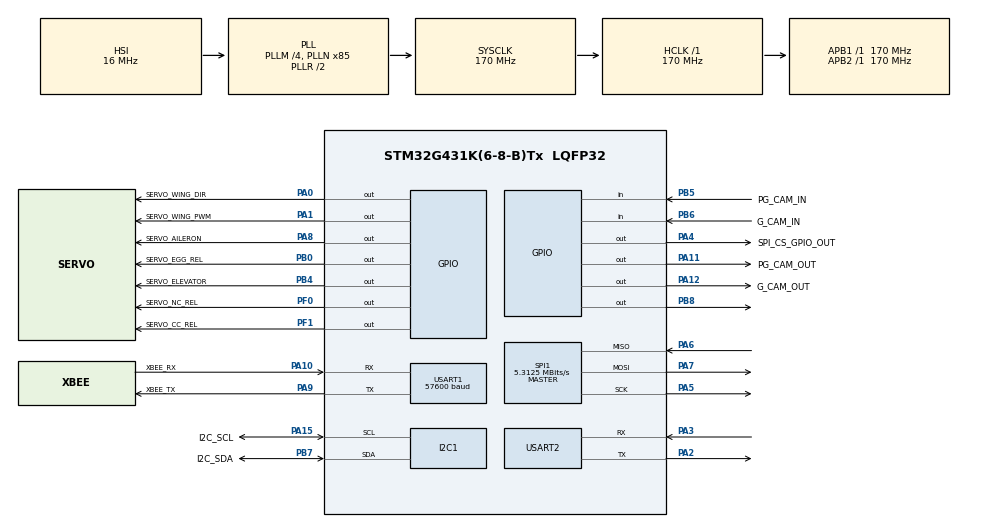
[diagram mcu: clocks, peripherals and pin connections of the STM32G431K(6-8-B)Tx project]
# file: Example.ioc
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I2C1.Timing=0x40B285C2
Mcu.Family=STM32G4
Mcu.Name=STM32G431K(6-8-B)Tx
Mcu.Package=LQFP32
NUCLEO-G431KB.LD2=true
NUCLEO-G431KB.VCP=true
NVIC.I2C1_ER_IRQn=true\:0\:0\:false\:false\:true\:true\:true\:true
NVIC.PriorityGroup=NVIC_PRIORITYGROUP_4
NVIC.TIM1_UP_TIM16_IRQn=true\:0\:0\:false\:false\:true\:true\:true\:true
PA0.GPIO_Label=SERVO_WING_DIR
PA0.Signal=GPIO_Output
PA1.GPIO_Label=SERVO_WING_PWM
PA1.Signal=GPIO_Output
PA10.GPIO_Label=XBEE_RX
PA10.Mode=Asynchronous
PA10.Signal=USART1_RX
PA11.GPIO_Label=PG_CAM_OUT
PA11.Signal=GPIO_Output
PA12.GPIO_Label=G_CAM_OUT
PA12.Signal=GPIO_Output
PA13.GPIO_Label=T_SWDIO
PA13.Mode=Trace_Asynchronous_SW
PA13.Signal=SYS_JTMS-SWDIO
PA14.GPIO_Label=T_SWCLK
PA14.Mode=Trace_Asynchronous_SW
PA14.Signal=SYS_JTCK-SWCLK
PA15.GPIO_Label=I2C_SCL
PA15.GPIO_Pu=GPIO_PULLUP
PA15.GPIO_Speed=GPIO_SPEED_FREQ_LOW
PA15.Mode=I2C
PA15.Signal=I2C1_SCL
PA2.Mode=Asynchronous
PA2.Signal=USART2_TX
PA3.Mode=Asynchronous
PA3.Signal=USART2_RX
PA4.GPIO_Label=SPI_CS_GPIO_OUT
PA4.Signal=GPIO_Output
PA5.Mode=Full_Duplex_Master
PA5.Signal=SPI1_SCK
PA6.Mode=Full_Duplex_Master
PA6.Signal=SPI1_MISO
PA7.Mode=Full_Duplex_Master
PA7.Signal=SPI1_MOSI
PA8.GPIO_Label=SERVO_AILERON
PA8.Signal=GPIO_Output
PA9.GPIO_Label=XBEE_TX
PA9.Mode=Asynchronous
PA9.Signal=USART1_TX
PB0.GPIO_Label=SERVO_EGG_REL
PB0.Signal=GPIO_Output
PB3.GPIO_Label=T_SWO
PB3.Mode=Trace_Asynchronous_SW
PB3.Signal=SYS_JTDO-SWO
PB4.GPIO_Label=SERVO_ELEVATOR
PB4.Signal=GPIO_Output
PB5.GPIO_Label=PG_CAM_IN
PB5.Signal=GPIO_Input
PB6.GPIO_Label=G_CAM_IN
PB6.Signal=GPIO_Input
PB7.GPIO_Label=I2C_SDA
PB7.GPIO_Pu=GPIO_PULLUP
PB7.GPIO_Speed=GPIO_SPEED_FREQ_LOW
PB7.Mode=I2C
PB7.Signal=I2C1_SDA
PB8-BOOT0.Signal=GPIO_Output
PF0-OSC_IN.GPIO_Label=SERVO_NC_REL
PF0-OSC_IN.Signal=GPIO_Output
PF1-OSC_OUT.GPIO_Label=SERVO_CC_REL
PF1-OSC_OUT.Signal=GPIO_Output
ProjectManager.HeapSize=0x200
ProjectManager.StackSize=0x400
ProjectManager.TargetToolchain=STM32CubeIDE
RCC.ADC12Freq_Value=170000000
RCC.AHBFreq_Value=170000000
RCC.APB1Freq_Value=170000000
RCC.APB1TimFreq_Value=170000000
RCC.APB2Freq_Value=170000000
RCC.APB2TimFreq_Value=170000000
RCC.CortexFreq_Value=170000000
RCC.EXTERNAL_CLOCK_VALUE=12288000
RCC.HCLKFreq_Value=170000000
RCC.HSE_VALUE=8000000
RCC.HSI48_VALUE=48000000
RCC.HSI_VALUE=16000000
RCC.LSE_VALUE=32768
RCC.PLLM=RCC_PLLM_DIV4
RCC.PLLN=85
RCC.SYSCLKFreq_VALUE=170000000
RCC.SYSCLKSource=RCC_SYSCLKSOURCE_PLLCLK
RCC.USBFreq_Value=170000000
RCC.VCOOutputFreq_Value=340000000
SPI1.BaudRatePrescaler=SPI_BAUDRATEPRESCALER_32
SPI1.CalculateBaudRate=5.3125 MBits/s
SPI1.Direction=SPI_DIRECTION_2LINES
SPI1.Mode=SPI_MODE_MASTER
SPI1.VirtualType=VM_MASTER
SPI1.ReceptionThreshold=SPI_RXFIFO_THRESHOLD_QF
SYS.PVDLevel=PWR_PVDLEVEL_6
TIM1.PeriodNoDither=9999
TIM1.Prescaler=16999
USART1.BaudRate=57600
USART1.VirtualMode-Asynchronous=VM_ASYNC
VP_NUCLEO-G431KB_VS_BSP_COMMON.Mode=COMMON
VP_SYS_VS_DBSignals.Mode=DisableDeadBatterySignals
VP_SYS_V_PVD_IN.Mode=Mode_PVD_Int
VP_TIM1_VS_ClockSourceINT.Mode=Internal
board=NUCLEO-G431KB

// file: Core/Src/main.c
/* USER CODE BEGIN Header */
/**
  ******************************************************************************
  * @file           : main.c
  * @brief          : Main program body
  ******************************************************************************
  * @attention
  *
  * Copyright (c) 2025 STMicroelectronics.
  * All rights reserved.
  *
  * This software is licensed under terms that can be found in the LICENSE file
  * in the root directory of this software component.
  * If no LICENSE file comes with this software, it is provided AS-IS.
  *
  ******************************************************************************
  */
/* USER CODE END Header */
#include "main.h"

/* USER CODE BEGIN Includes */
#ifdef __cplusplus
 extern "C" {
#endif
void main_cpp();
#ifdef __cplusplus
}
#endif
/* USER CODE END Includes */

COM_InitTypeDef BspCOMInit;

I2C_HandleTypeDef hi2c1;

SPI_HandleTypeDef hspi1;

TIM_HandleTypeDef htim1;

UART_HandleTypeDef huart1;

void SystemClock_Config(void);
static void MX_GPIO_Init(void);
static void MX_I2C1_Init(void);
static void MX_SPI1_Init(void);
static void MX_TIM1_Init(void);
static void MX_USART1_UART_Init(void);

int main(void)
{

  /* MCU Configuration--------------------------------------------------------*/

  /* Reset of all peripherals, Initializes the Flash interface and the Systick. */
  HAL_Init();

  /* Configure the system clock */
  SystemClock_Config();

  /* Initialize all configured peripherals */
  MX_GPIO_Init();
  MX_I2C1_Init();
  MX_SPI1_Init();
  MX_TIM1_Init();
  MX_USART1_UART_Init();

  /* Initialize leds */
  BSP_LED_Init(LED_GREEN);

  /* Initialize COM1 port (115200, 8 bits (7-bit data + 1 stop bit), no parity */
  BspCOMInit.BaudRate   = 115200;
  BspCOMInit.WordLength = COM_WORDLENGTH_8B;
  BspCOMInit.StopBits   = COM_STOPBITS_1;
  BspCOMInit.Parity     = COM_PARITY_NONE;
  BspCOMInit.HwFlowCtl  = COM_HWCONTROL_NONE;
  if (BSP_COM_Init(COM1, &BspCOMInit) != BSP_ERROR_NONE)
  {
    Error_Handler();
  }

  /* Infinite loop */
  /* USER CODE BEGIN WHILE */
  uint8_t tx = 0xA5;
  uint8_t rx = 0x00;
  HAL_StatusTypeDef ret;

  HAL_GPIO_WritePin(SPI_CS_GPIO_OUT_GPIO_Port, SPI_CS_GPIO_OUT_Pin, GPIO_PIN_RESET);
  ret = HAL_SPI_TransmitReceive(&hspi1, &tx, &rx, 1, 100);
  HAL_GPIO_WritePin(SPI_CS_GPIO_OUT_GPIO_Port, SPI_CS_GPIO_OUT_Pin, GPIO_PIN_SET);

  printf("Loopback: ret=%d sent=0x%02X got=0x%02X\r\n", ret, tx, rx);

  printf("GPIOA MODER: 0x%08lX\r\n", GPIOA->MODER);
  printf("GPIOA AFRL:  0x%08lX\r\n", GPIOA->AFR[0]);
  printf("SPI1 CR1:    0x%08lX\r\n", SPI1->CR1);
  printf("SPI1 CR2:    0x%08lX\r\n", SPI1->CR2);
  main_cpp();
  while (1)
  {

    /* USER CODE END WHILE */

  }
}

void SystemClock_Config(void)
{
  RCC_OscInitTypeDef RCC_OscInitStruct = {0};
  RCC_ClkInitTypeDef RCC_ClkInitStruct = {0};

  /** Configure the main internal regulator output voltage
  */
  HAL_PWREx_ControlVoltageScaling(PWR_REGULATOR_VOLTAGE_SCALE1_BOOST);

  /** Initializes the RCC Oscillators according to the specified parameters
  * in the RCC_OscInitTypeDef structure.
  */
  RCC_OscInitStruct.OscillatorType = RCC_OSCILLATORTYPE_HSI;
  RCC_OscInitStruct.HSIState = RCC_HSI_ON;
  RCC_OscInitStruct.HSICalibrationValue = RCC_HSICALIBRATION_DEFAULT;
  RCC_OscInitStruct.PLL.PLLState = RCC_PLL_ON;
  RCC_OscInitStruct.PLL.PLLSource = RCC_PLLSOURCE_HSI;
  RCC_OscInitStruct.PLL.PLLM = RCC_PLLM_DIV4;
  RCC_OscInitStruct.PLL.PLLN = 85;
  RCC_OscInitStruct.PLL.PLLP = RCC_PLLP_DIV2;
  RCC_OscInitStruct.PLL.PLLQ = RCC_PLLQ_DIV2;
  RCC_OscInitStruct.PLL.PLLR = RCC_PLLR_DIV2;
  if (HAL_RCC_OscConfig(&RCC_OscInitStruct) != HAL_OK)
  {
    Error_Handler();
  }

  /** Initializes the CPU, AHB and APB buses clocks
  */
  RCC_ClkInitStruct.ClockType = RCC_CLOCKTYPE_HCLK|RCC_CLOCKTYPE_SYSCLK
                              |RCC_CLOCKTYPE_PCLK1|RCC_CLOCKTYPE_PCLK2;
  RCC_ClkInitStruct.SYSCLKSource = RCC_SYSCLKSOURCE_PLLCLK;
  RCC_ClkInitStruct.AHBCLKDivider = RCC_SYSCLK_DIV1;
  RCC_ClkInitStruct.APB1CLKDivider = RCC_HCLK_DIV1;
  RCC_ClkInitStruct.APB2CLKDivider = RCC_HCLK_DIV1;

  if (HAL_RCC_ClockConfig(&RCC_ClkInitStruct, FLASH_LATENCY_4) != HAL_OK)
  {
    Error_Handler();
  }
}

static void MX_I2C1_Init(void)
{

  hi2c1.Instance = I2C1;
  hi2c1.Init.Timing = 0x40B285C2;
  hi2c1.Init.OwnAddress1 = 0;
  hi2c1.Init.AddressingMode = I2C_ADDRESSINGMODE_7BIT;
  hi2c1.Init.DualAddressMode = I2C_DUALADDRESS_DISABLE;
  hi2c1.Init.OwnAddress2 = 0;
  hi2c1.Init.OwnAddress2Masks = I2C_OA2_NOMASK;
  hi2c1.Init.GeneralCallMode = I2C_GENERALCALL_DISABLE;
  hi2c1.Init.NoStretchMode = I2C_NOSTRETCH_DISABLE;
  if (HAL_I2C_Init(&hi2c1) != HAL_OK)
  {
    Error_Handler();
  }

  /** Configure Analogue filter
  */
  if (HAL_I2CEx_ConfigAnalogFilter(&hi2c1, I2C_ANALOGFILTER_ENABLE) != HAL_OK)
  {
    Error_Handler();
  }

  /** Configure Digital filter
  */
  if (HAL_I2CEx_ConfigDigitalFilter(&hi2c1, 0) != HAL_OK)
  {
    Error_Handler();
  }

}

static void MX_SPI1_Init(void)
{

  /* SPI1 parameter configuration*/
  hspi1.Instance = SPI1;
  hspi1.Init.Mode = SPI_MODE_MASTER;
  hspi1.Init.Direction = SPI_DIRECTION_2LINES;
  hspi1.Init.CLKPolarity = SPI_POLARITY_LOW;
  hspi1.Init.CLKPhase = SPI_PHASE_1EDGE;
  hspi1.Init.NSS = SPI_NSS_SOFT;
  hspi1.Init.FirstBit = SPI_FIRSTBIT_MSB;
  hspi1.Init.TIMode = SPI_TIMODE_DISABLE;
  hspi1.Init.CRCCalculation = SPI_CRCCALCULATION_DISABLE;
  hspi1.Init.CRCPolynomial = 7;
  hspi1.Init.CRCLength = SPI_CRC_LENGTH_DATASIZE;

  hspi1.Init.BaudRatePrescaler = SPI_BAUDRATEPRESCALER_128;

  hspi1.Init.NSSPMode = SPI_NSS_PULSE_DISABLE;
  hspi1.Init.DataSize = SPI_DATASIZE_8BIT;

  if (HAL_SPI_Init(&hspi1) != HAL_OK)
  {
    Error_Handler();
  }
  /* USER CODE BEGIN SPI1_Init 2 */

  hspi1.Instance->CR2 |= SPI_CR2_FRXTH;
  /* USER CODE END SPI1_Init 2 */

}

static void MX_TIM1_Init(void)
{

  TIM_ClockConfigTypeDef sClockSourceConfig = {0};
  TIM_MasterConfigTypeDef sMasterConfig = {0};

  htim1.Instance = TIM1;
  htim1.Init.Prescaler = 16999;
  htim1.Init.CounterMode = TIM_COUNTERMODE_UP;
  htim1.Init.Period = 9999;
  htim1.Init.ClockDivision = TIM_CLOCKDIVISION_DIV1;
  htim1.Init.RepetitionCounter = 0;
  htim1.Init.AutoReloadPreload = TIM_AUTORELOAD_PRELOAD_DISABLE;
  if (HAL_TIM_Base_Init(&htim1) != HAL_OK)
  {
    Error_Handler();
  }
  sClockSourceConfig.ClockSource = TIM_CLOCKSOURCE_INTERNAL;
  if (HAL_TIM_ConfigClockSource(&htim1, &sClockSourceConfig) != HAL_OK)
  {
    Error_Handler();
  }
  sMasterConfig.MasterOutputTrigger = TIM_TRGO_RESET;
  sMasterConfig.MasterOutputTrigger2 = TIM_TRGO2_RESET;
  sMasterConfig.MasterSlaveMode = TIM_MASTERSLAVEMODE_DISABLE;
  if (HAL_TIMEx_MasterConfigSynchronization(&htim1, &sMasterConfig) != HAL_OK)
  {
    Error_Handler();
  }

}

static void MX_USART1_UART_Init(void)
{

  huart1.Instance = USART1;
  huart1.Init.BaudRate = 57600;
  huart1.Init.WordLength = UART_WORDLENGTH_8B;
  huart1.Init.StopBits = UART_STOPBITS_1;
  huart1.Init.Parity = UART_PARITY_NONE;
  huart1.Init.Mode = UART_MODE_TX_RX;
  huart1.Init.HwFlowCtl = UART_HWCONTROL_NONE;
  huart1.Init.OverSampling = UART_OVERSAMPLING_16;
  huart1.Init.OneBitSampling = UART_ONE_BIT_SAMPLE_DISABLE;
  huart1.Init.ClockPrescaler = UART_PRESCALER_DIV1;
  huart1.AdvancedInit.AdvFeatureInit = UART_ADVFEATURE_NO_INIT;
  if (HAL_UART_Init(&huart1) != HAL_OK)
  {
    Error_Handler();
  }
  if (HAL_UARTEx_SetTxFifoThreshold(&huart1, UART_TXFIFO_THRESHOLD_1_8) != HAL_OK)
  {
    Error_Handler();
  }
  if (HAL_UARTEx_SetRxFifoThreshold(&huart1, UART_RXFIFO_THRESHOLD_1_8) != HAL_OK)
  {
    Error_Handler();
  }
  if (HAL_UARTEx_DisableFifoMode(&huart1) != HAL_OK)
  {
    Error_Handler();
  }

}

static void MX_GPIO_Init(void)
{
  GPIO_InitTypeDef GPIO_InitStruct = {0};

  /* GPIO Ports Clock Enable */
  __HAL_RCC_GPIOF_CLK_ENABLE();
  __HAL_RCC_GPIOA_CLK_ENABLE();
  __HAL_RCC_GPIOB_CLK_ENABLE();

  /*Configure GPIO pin Output Level */
  HAL_GPIO_WritePin(GPIOF, SERVO_NC_REL_Pin|SERVO_CC_REL_Pin, GPIO_PIN_RESET);

  /*Configure GPIO pin Output Level */
  HAL_GPIO_WritePin(GPIOA, SERVO_WING_DIR_Pin|SERVO_WING_PWM_Pin|SPI_CS_GPIO_OUT_Pin|SERVO_AILERON_Pin
                          |PG_CAM_OUT_Pin|G_CAM_OUT_Pin, GPIO_PIN_RESET);

  /*Configure GPIO pin Output Level */
  HAL_GPIO_WritePin(GPIOB, SERVO_EGG_REL_Pin|SERVO_ELEVATOR_Pin, GPIO_PIN_RESET);

  /*Configure GPIO pins : SERVO_NC_REL_Pin SERVO_CC_REL_Pin */
  GPIO_InitStruct.Pin = SERVO_NC_REL_Pin|SERVO_CC_REL_Pin;
  GPIO_InitStruct.Mode = GPIO_MODE_OUTPUT_PP;
  GPIO_InitStruct.Pull = GPIO_NOPULL;
  GPIO_InitStruct.Speed = GPIO_SPEED_FREQ_LOW;
  HAL_GPIO_Init(GPIOF, &GPIO_InitStruct);

  /*Configure GPIO pins : SERVO_WING_DIR_Pin SERVO_WING_PWM_Pin SPI_CS_GPIO_OUT_Pin SERVO_AILERON_Pin
                             PG_CAM_OUT_Pin G_CAM_OUT_Pin */
  GPIO_InitStruct.Pin = SERVO_WING_DIR_Pin|SERVO_WING_PWM_Pin|SPI_CS_GPIO_OUT_Pin|SERVO_AILERON_Pin
                          |PG_CAM_OUT_Pin|G_CAM_OUT_Pin;
  GPIO_InitStruct.Mode = GPIO_MODE_OUTPUT_PP;
  GPIO_InitStruct.Pull = GPIO_NOPULL;
  GPIO_InitStruct.Speed = GPIO_SPEED_FREQ_LOW;
  HAL_GPIO_Init(GPIOA, &GPIO_InitStruct);

  /*Configure GPIO pins : SERVO_EGG_REL_Pin SERVO_ELEVATOR_Pin */
  GPIO_InitStruct.Pin = SERVO_EGG_REL_Pin|SERVO_ELEVATOR_Pin;
  GPIO_InitStruct.Mode = GPIO_MODE_OUTPUT_PP;
  GPIO_InitStruct.Pull = GPIO_NOPULL;
  GPIO_InitStruct.Speed = GPIO_SPEED_FREQ_LOW;
  HAL_GPIO_Init(GPIOB, &GPIO_InitStruct);

  /*Configure GPIO pins : PG_CAM_IN_Pin G_CAM_IN_Pin */
  GPIO_InitStruct.Pin = PG_CAM_IN_Pin|G_CAM_IN_Pin;
  GPIO_InitStruct.Mode = GPIO_MODE_INPUT;
  GPIO_InitStruct.Pull = GPIO_NOPULL;
  HAL_GPIO_Init(GPIOB, &GPIO_InitStruct);

  /* USER CODE BEGIN MX_GPIO_Init_2 */
  /* Explicitly verify PA4 is set as a high-speed Push-Pull Chip Select Output */
  GPIO_InitTypeDef CS_InitStruct = {0};
  CS_InitStruct.Pin   = SPI_CS_GPIO_OUT_Pin;
  CS_InitStruct.Mode  = GPIO_MODE_OUTPUT_PP;
  CS_InitStruct.Pull  = GPIO_NOPULL;
  CS_InitStruct.Speed = GPIO_SPEED_FREQ_VERY_HIGH;
  HAL_GPIO_Init(SPI_CS_GPIO_OUT_GPIO_Port, &CS_InitStruct);

  /* Force PA4 High to hold the EEPROM in idle state */
  HAL_GPIO_WritePin(SPI_CS_GPIO_OUT_GPIO_Port, SPI_CS_GPIO_OUT_Pin, GPIO_PIN_SET);
  /* USER CODE END MX_GPIO_Init_2 */
}

/* USER CODE BEGIN Header */
/**
  ******************************************************************************
  * @file           : main.c
  * @brief          : Main program body
  ******************************************************************************
  * @attention
  *
  * Copyright (c) 2025 STMicroelectronics.
  * All rights reserved.
  *
  * This software is licensed under terms that can be found in the LICENSE file
  * in the root directory of this software component.
  * If no LICENSE file comes with this software, it is provided AS-IS.
  *
  ******************************************************************************
  */
/* USER CODE END Header */

void Error_Handler(void)
{
  __disable_irq();
  while (1)
  {
  }
}
